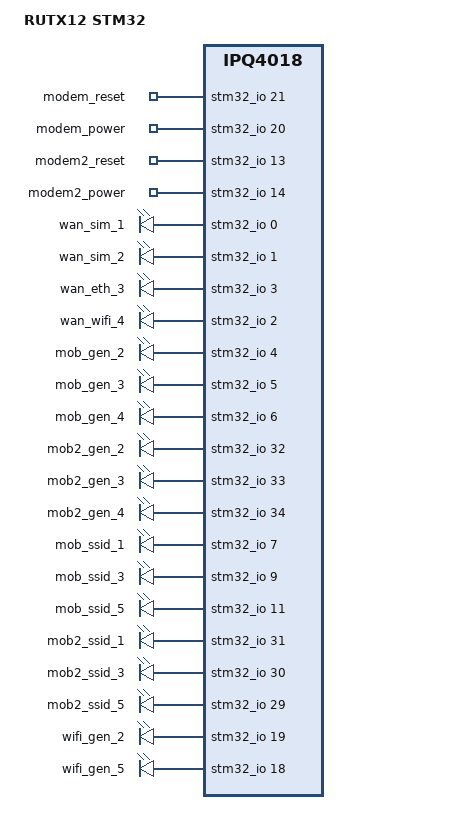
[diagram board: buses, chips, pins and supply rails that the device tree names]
#include "qcom-ipq4018-rutx-STM32.dtsi"

/ {
	model = "RUTX12 STM32";

	soc {
		gpio-export {
			compatible = "gpio-export";
			#size-cells = <0>;

			gpio_modem_reset {
				gpio-export,name = "modem_reset";
				gpio-export,output = <0>;
				gpios = <&stm32_io 21 GPIO_ACTIVE_HIGH>;
			};

			gpio_modem_power {
				gpio-export,name = "modem_power";
				gpio-export,output = <0>;
				gpios = <&stm32_io 20 GPIO_ACTIVE_HIGH>;
			};

			gpio_modem2_reset {
				gpio-export,name = "modem2_reset";
				gpio-export,output = <0>;
				gpios = <&stm32_io 13 GPIO_ACTIVE_HIGH>;
			};

			gpio_modem2_power {
				gpio-export,name = "modem2_power";
				gpio-export,output = <0>;
				gpios = <&stm32_io 14 GPIO_ACTIVE_HIGH>;
			};
		};

		leds {
			compatible = "gpio-leds";

			led_wan_sim1 {
				label = "wan_sim_1";
				gpios = <&stm32_io 0 GPIO_ACTIVE_HIGH>;
			};

			led_wan_sim2 {
				label = "wan_sim_2";
				gpios = <&stm32_io 1 GPIO_ACTIVE_HIGH>;
			};

			led_wan_eth {
				label = "wan_eth_3";
				gpios = <&stm32_io 3 GPIO_ACTIVE_HIGH>;
			};

			led_wan_wifi {
				label = "wan_wifi_4";
				gpios = <&stm32_io 2 GPIO_ACTIVE_HIGH>;
			};

			led_gen_2 {
				label = "mob_gen_2";
				gpios = <&stm32_io 4 GPIO_ACTIVE_HIGH>;
			};

			led_gen_3 {
				label = "mob_gen_3";
				gpios = <&stm32_io 5 GPIO_ACTIVE_HIGH>;
			};

			led_gen_4 {
				label = "mob_gen_4";
				gpios = <&stm32_io 6 GPIO_ACTIVE_HIGH>;
			};

			led2_gen_2 {
				label = "mob2_gen_2";
				gpios = <&stm32_io 32 GPIO_ACTIVE_HIGH>;
			};

			led2_gen_3 {
				label = "mob2_gen_3";
				gpios = <&stm32_io 33 GPIO_ACTIVE_HIGH>;
			};

			led2_gen_4 {
				label = "mob2_gen_4";
				gpios = <&stm32_io 34 GPIO_ACTIVE_HIGH>;
			};

			led_ssid_1 {
				label = "mob_ssid_1";
				gpios = <&stm32_io 7 GPIO_ACTIVE_HIGH>;
				linux,default-trigger = "timer";
			};

			led_ssid_3 {
				label = "mob_ssid_3";
				gpios = <&stm32_io 9 GPIO_ACTIVE_HIGH>;
				linux,default-trigger = "timer";
			};

			led_ssid_5 {
				label = "mob_ssid_5";
				gpios = <&stm32_io 11 GPIO_ACTIVE_HIGH>;
				linux,default-trigger = "timer";
			};

			led2_ssid_1 {
				label = "mob2_ssid_1";
				gpios = <&stm32_io 31 GPIO_ACTIVE_HIGH>;
				linux,default-trigger = "timer";
			};

			led2_ssid_3 {
				label = "mob2_ssid_3";
				gpios = <&stm32_io 30 GPIO_ACTIVE_HIGH>;
				linux,default-trigger = "timer";
			};

			led2_ssid_5 {
				label = "mob2_ssid_5";
				gpios = <&stm32_io 29 GPIO_ACTIVE_HIGH>;
				linux,default-trigger = "timer";
			};

			led_wifi_24 {
				label = "wifi_gen_2";
				gpios = <&stm32_io 19 GPIO_ACTIVE_HIGH>;
			};

			led_wifi_50 {
				label = "wifi_gen_5";
				gpios = <&stm32_io 18 GPIO_ACTIVE_HIGH>;
			};
		};
	};

	tlt_gpios { // Modify according to wiki page "DTS syntax with Libgpiod changes"
		gpiochip_info {
			hw_0 {
				hwver = <0>;
				gpiochip_count = <2>;

				gpiochip_0 = <100>; // Built-in
				gpiochip_1 = <37>;  // STM32 expander
			};
		};

		ioman {
			GPIO_123 {
				compatible_versions = <0 3>;
				line_name = "GPIO_OUT_1";
			};
			GPIO_124 {
				compatible_versions = <0 3>;
				line_name = "GPIO_IN_1";
				active_low;
			};
		};

		ledman {
			GPIO_100 {
				compatible_versions = <0 3>;
				line_name = "LED_SIM_1";
			};
			GPIO_101 {
				compatible_versions = <0 3>;
				line_name = "LED_SIM_2";
			};
			GPIO_102 {
				compatible_versions = <0 3>;
				line_name = "LED_WAN_WIFI";
			};
			GPIO_103 {
				compatible_versions = <0 3>;
				line_name = "LED_WAN_ETH";
			};
			GPIO_104 {
				compatible_versions = <0 3>;
				line_name = "LED_TECH_GEN_2";
			};
			GPIO_105 {
				compatible_versions = <0 3>;
				line_name = "LED_TECH_GEN_3";
			};
			GPIO_106 {
				compatible_versions = <0 3>;
				line_name = "LED_TECH_GEN_4";
			};
			GPIO_132 {
				compatible_versions = <0 3>;
				line_name = "LED_TECH_GEN2_2";
			};
			GPIO_133 {
				compatible_versions = <0 3>;
				line_name = "LED_TECH_GEN2_3";
			};
			GPIO_134 {
				compatible_versions = <0 3>;
				line_name = "LED_TECH_GEN2_4";
			};
			GPIO_107 {
				compatible_versions = <0 3>;
				line_name = "LED_SSID_1";
			};
			GPIO_109 {
				compatible_versions = <0 3>;
				line_name = "LED_SSID_3";
			};
			GPIO_111 {
				compatible_versions = <0 3>;
				line_name = "LED_SSID_5";
			};
			GPIO_131 {
				compatible_versions = <0 3>;
				line_name = "LED_SSID2_1";
			};
			GPIO_130 {
				compatible_versions = <0 3>;
				line_name = "LED_SSID2_3";
			};
			GPIO_129 {
				compatible_versions = <0 3>;
				line_name = "LED_SSID2_5";
			};
			GPIO_119 {
				compatible_versions = <0 3>;
				line_name = "LED_WIFI_24";
			};
			GPIO_118 {
				compatible_versions = <0 3>;
				line_name = "LED_WIFI_50";
			};
		};

		misc {
			GPIO_120 {
				compatible_versions = <0 3>;
				line_name = "GPIO_MODEM_POWER_1";
			};
			GPIO_114 {
				compatible_versions = <0 3>;
				line_name = "GPIO_MODEM_POWER_2";
			};
			GPIO_121 {
				compatible_versions = <0 3>;
				line_name = "GPIO_MODEM_RESET_1";
			};
			GPIO_113 {
				compatible_versions = <0 3>;
				line_name = "GPIO_MODEM_RESET_2";
			};
		};
	};
};
